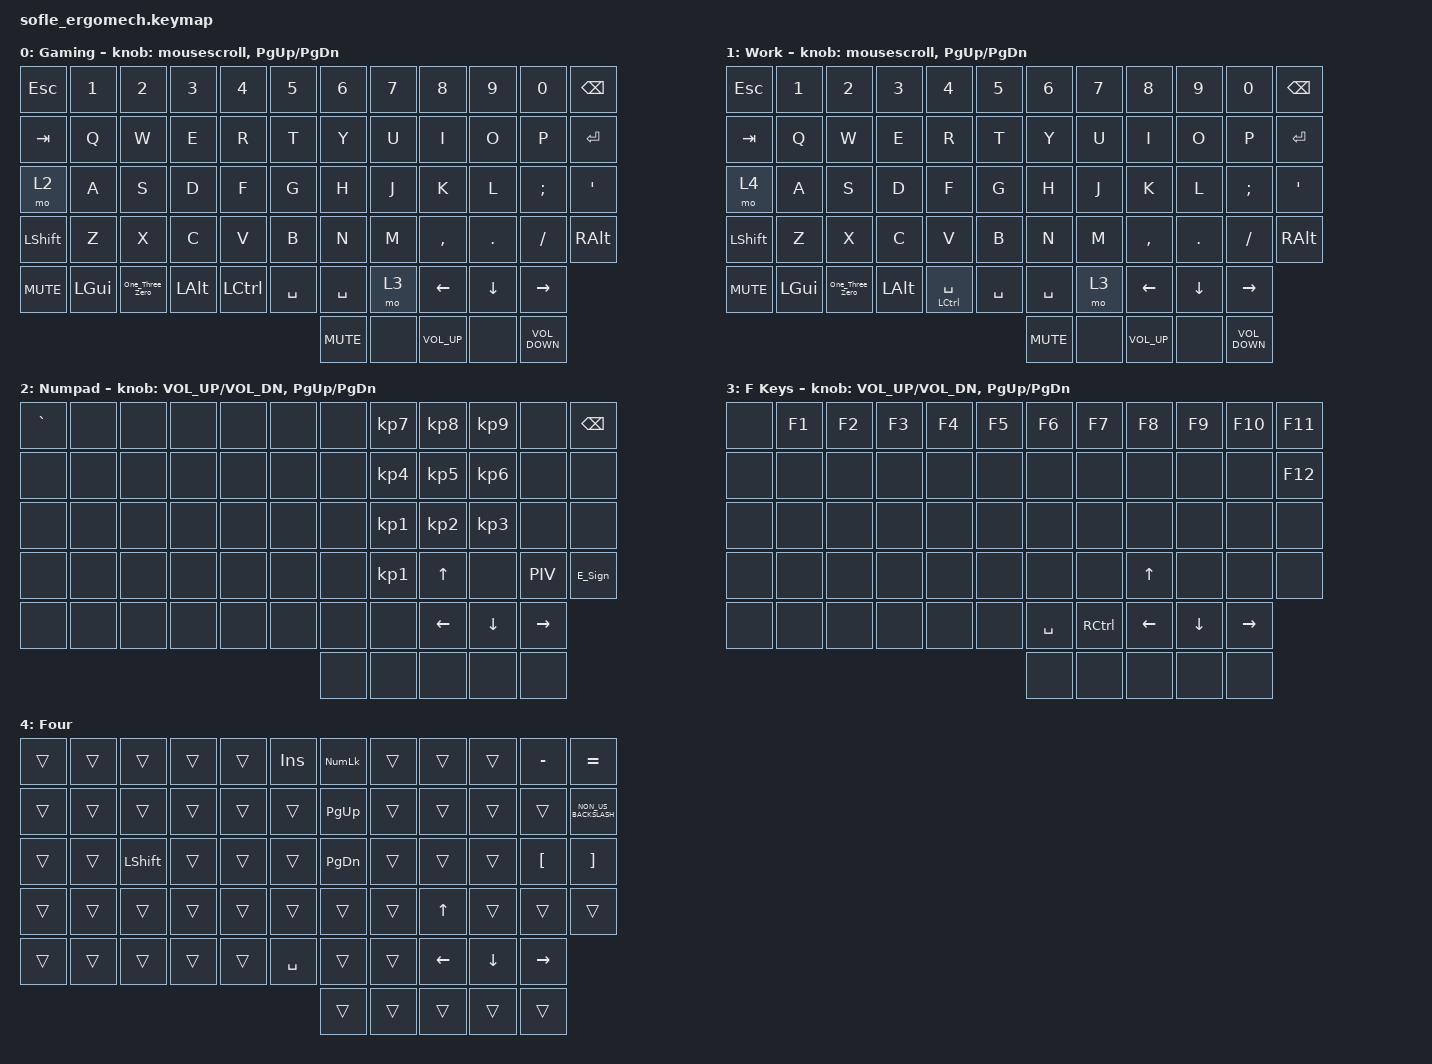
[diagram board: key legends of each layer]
/*
 * Copyright (c) 2020 The ZMK Contributors
 *
 * SPDX-License-Identifier: MIT
 */

#define ZMK_POINTING_DEFAULT_SCRL_VAL 300

#include <behaviors.dtsi>
#include <dt-bindings/zmk/keys.h>
#include <dt-bindings/zmk/pointing.h>

#define BASE 0
#define LOWER 1
#define RAISE 2
#define ADJUST 3

/ {
    // Activate ADJUST layer by pressing raise and lower

    conditional_layers {
        compatible = "zmk,conditional-layers";

        adjust_layer {
            if-layers = <3 3>;
            then-layer = <2>;
        };
    };

    behaviors {
        mousescroll: mousescroll {
            compatible = "zmk,behavior-sensor-rotate";
            #sensor-binding-cells = <0>;
            bindings = <&msc SCRL_UP>, <&msc SCRL_DOWN>;

            tap-ms = <20>;
        };

        One_Three_Zero: One_Three_Zero {
            compatible = "zmk,behavior-tap-dance";
            label = "ONE_THREE_ZERO";
            #binding-cells = <0>;
            bindings = <&tog 1>, <&tog 3>, <&tog 0>;
        };

        Space_Ctrl: Space_Ctrl {
            compatible = "zmk,behavior-hold-tap";
            label = "SPACE_CTRL";
            bindings = <&kp>, <&kp>;

            #binding-cells = <2>;
            tapping-term-ms = <200>;
        };
    };

    macros {
        Clipboard: Clipboard {
            compatible = "zmk,behavior-macro";
            #binding-cells = <0>;
            bindings =
                <&macro_press>,
                <&kp LCTRL &kp V>,
                <&macro_release>,
                <&kp LCTRL &kp V>;

            label = "CLIPBOARD";
        };

        PIV: PIV {
            compatible = "zmk,behavior-macro";
            #binding-cells = <0>;
            bindings = <&kp N2 &kp N2 &kp N9 &kp N9 &kp N6 &kp N9>;
            label = "PIV";
        };

        E_Sign: E_Sign {
            compatible = "zmk,behavior-macro";
            #binding-cells = <0>;
            bindings = <&none &kp LS(C) &kp LS(V) &kp LS(A) &kp LS(L) &kp LS(D) &kp LS(E) &kp LS(Z) &kp N1>;
            label = "E_SIGN";
        };
    };

    combos {
        compatible = "zmk,combos";

        Refresh {
            bindings = <&kp F5>;
            key-positions = <4 5>;
        };

        Inventory {
            bindings = <&kp I>;
            key-positions = <28 29>;
        };

        Map {
            bindings = <&kp M>;
            key-positions = <40 41>;
        };
    };

    keymap {
        compatible = "zmk,keymap";

        Zero {
            label = "Gaming";

            // ------------------------------------------------------------------------------------------------------------
            // |   `   |  1  |  2  |  3   |  4   |  5   |                   |  6   |  7    |  8    |  9   |   0   |       |
            // |  ESC  |  Q  |  W  |  E   |  R   |  T   |                   |  Y   |  U    |  I    |  O   |   P   | BKSPC |
            // |  TAB  |  A  |  S  |  D   |  F   |  G   |                   |  H   |  J    |  K    |  L   |   ;   |   '   |
            // | SHIFT |  Z  |  X  |  C   |  V   |  B   |  MUTE  |  |       |  N   |  M    |  ,    |  .   |   /   | SHIFT |
            //               | GUI | ALT  | CTRL | LOWER|  ENTER |  | SPACE | RAISE| CTRL  | ALT   | GUI  |

            bindings = <
&kp ESC     &kp N1    &kp N2           &kp N3        &kp N4     &kp N5     &kp N6      &kp N7  &kp N8        &kp N9          &kp N0             &kp BSPC
&kp TAB     &kp Q     &kp W            &kp E         &kp R      &kp T      &kp Y       &kp U   &kp I         &kp O           &kp P              &kp ENTER
&mo 2       &kp A     &kp S            &kp D         &kp F      &kp G      &kp H       &kp J   &kp K         &kp L           &kp SEMI           &kp SQT
&kp LSHFT   &kp Z     &kp X            &kp C         &kp V      &kp B      &kp N       &kp M   &kp COMMA     &kp DOT         &kp FSLH           &kp RALT
&kp C_MUTE  &kp LGUI  &One_Three_Zero  &kp LEFT_ALT  &kp LCTRL  &kp SPACE  &kp SPACE   &mo 3   &kp LEFT      &kp DOWN_ARROW  &kp RIGHT
                                                                           &kp K_MUTE  &none   &kp C_VOL_UP  &none           &kp C_VOLUME_DOWN
            >;

            sensor-bindings = <&mousescroll &inc_dec_kp PG_UP PG_DN>;
        };

        One {
            label = "Work";
            bindings = <
&kp ESC     &kp N1    &kp N2           &kp N3        &kp N4                   &kp N5     &kp N6      &kp N7  &kp N8        &kp N9    &kp N0             &kp BSPC
&kp TAB     &kp Q     &kp W            &kp E         &kp R                    &kp T      &kp Y       &kp U   &kp I         &kp O     &kp P              &kp ENTER
&mo 4       &kp A     &kp S            &kp D         &kp F                    &kp G      &kp H       &kp J   &kp K         &kp L     &kp SEMI           &kp SQT
&kp LSHFT   &kp Z     &kp X            &kp C         &kp V                    &kp B      &kp N       &kp M   &kp COMMA     &kp DOT   &kp FSLH           &kp RALT
&kp C_MUTE  &kp LGUI  &One_Three_Zero  &kp LEFT_ALT  &Space_Ctrl LCTRL SPACE  &kp SPACE  &kp SPACE   &mo 3   &kp LEFT      &kp DOWN  &kp RIGHT
                                                                                         &kp K_MUTE  &none   &kp C_VOL_UP  &none     &kp C_VOLUME_DOWN
            >;

            sensor-bindings = <&mousescroll>, <&inc_dec_kp PG_UP PG_DN>;
        };

        Two {
            label = "Numpad";
            bindings = <
&kp GRAVE  &none  &none  &none  &none  &none  &none  &kp KP_NUMBER_7  &kp KP_NUMBER_8  &kp KP_NUMBER_9  &none      &kp BACKSPACE
&none      &none  &none  &none  &none  &none  &none  &kp KP_NUMBER_4  &kp KP_NUMBER_5  &kp KP_NUMBER_6  &none      &none
&none      &none  &none  &none  &none  &none  &none  &kp KP_NUMBER_1  &kp KP_NUMBER_2  &kp KP_NUMBER_3  &none      &none
&none      &none  &none  &none  &none  &none  &none  &kp KP_NUMBER_1  &kp UP_ARROW     &none            &PIV       &E_Sign
&none      &none  &none  &none  &none  &none  &none  &none            &kp LEFT_ARROW   &kp DOWN         &kp RIGHT
                                              &none  &none            &none            &none            &none
            >;

            sensor-bindings =
                <&inc_dec_kp C_VOL_UP C_VOL_DN>,
                <&inc_dec_kp PG_UP PG_DN>;
        };

        Three {
            label = "F Keys";

            // ------------------------------------------------------------------------------------------------------------
            // | BTCLR | BT1  | BT2  |  BT3  |  BT4  |  BT5 |                |      |      |       |      |       |       |
            // |       | INS  | PSCR | GUI   |       |      |                | PGUP |      |   ^   |      |       |       |
            // |       | ALT  | CTRL | SHIFT |       | CAPS |                | PGDN |   <- |   v   |  ->  |  DEL  | BKSPC |
            // |       | UNDO | CUT  | COPY  | PASTE |      |      |  |      |      |      |       |      |       |       |
            //                |      |       |       |      |      |  |      |      |      |       |      |

            bindings = <
&none  &kp F1  &kp F2  &kp F3  &kp F4  &kp F5  &kp F6     &kp F7     &kp F8        &kp F9    &kp F10    &kp F11
&none  &none   &none   &none   &none   &none   &none      &none      &none         &none     &none      &kp F12
&none  &none   &none   &none   &none   &none   &none      &none      &none         &none     &none      &none
&none  &none   &none   &none   &none   &none   &none      &none      &kp UP_ARROW  &none     &none      &none
&none  &none   &none   &none   &none   &none   &kp SPACE  &kp RCTRL  &kp LEFT      &kp DOWN  &kp RIGHT
                                               &none      &none      &none         &none     &none
            >;

            sensor-bindings = <&inc_dec_kp C_VOL_UP C_VOL_DN &inc_dec_kp PG_UP PG_DN>;
        };

        Four {
            bindings = <
&trans  &trans  &trans          &trans  &trans  &kp INSERT  &kp KP_NUMLOCK  &trans  &trans          &trans    &kp MINUS         &kp EQUAL
&trans  &trans  &trans          &trans  &trans  &trans      &kp PAGE_UP     &trans  &trans          &trans    &trans            &kp NON_US_BACKSLASH
&trans  &trans  &kp LEFT_SHIFT  &trans  &trans  &trans      &kp PG_DN       &trans  &trans          &trans    &kp LEFT_BRACKET  &kp RIGHT_BRACKET
&trans  &trans  &trans          &trans  &trans  &trans      &trans          &trans  &kp UP_ARROW    &trans    &trans            &trans
&trans  &trans  &trans          &trans  &trans  &kp SPACE   &trans          &trans  &kp LEFT_ARROW  &kp DOWN  &kp RIGHT
                                                            &trans          &trans  &trans          &trans    &trans
            >;
        };
    };
};
